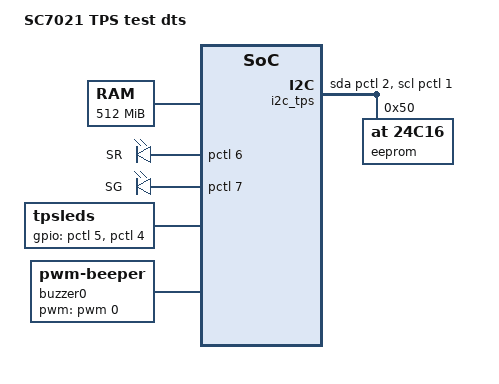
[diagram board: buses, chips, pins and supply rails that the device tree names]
/dts-v1/;

#include "pentagram-sp7021-achip.dtsi"

#include <dt-bindings/interrupt-controller/arm-gic.h>

/ {
	model = "SC7021 TPS test dts";
	compatible = "sunplus,sc7021-achip";

	chosen {
		bootargs = "console=ttyS0,115200 root=/dev/ram rw loglevel=8 earlyprintk";
	};

	memory {
		reg = <0x00000000 0x20000000>; /* 512MB */
	};
};

&sp_spinor0 {  status = "disabled";  };

&sp_uphy0 {
  pinctrl-names = "default";
  pinctrl-0 = <&pins_vbus_usb0>;
  vbus-gpio = <&pctl 90 GPIO_ACTIVE_HIGH>;
};

&sp_uphy1 {
  pinctrl-names = "default";
  pinctrl-0 = <&pins_vbus_usb1>;
  vbus-gpio = <&pctl 91 GPIO_ACTIVE_HIGH>;
};

&l2sw {
 pinctrl-names = "default";
 pinctrl-0 = <&ethA_pins &eth0_pins &eth1_pins>;
};

&mmc1 {
 cd-gpio = <&pctl 0 GPIO_ACTIVE_LOW>;
};

&hdmitx {
 pinctrl-names = "default";
 pinctrl-0 = <&hdmi_A_tx1>;
};

&uart4 {
 pinctrl-names = "default";
 pinctrl-0 = <&pins_btuart>;
};

&pctl {
 /*** all non-device binded that you want to set mode ***/
 pinctrl-names = "default";
 pinctrl-0 = <&pins_iopp_nobinded &pins_gpio_nobinded &func_zero>;

 /* detouch any preset pins from this functions */
 func_zero: func_zero {
   sppctl,zero = <
     MUXF_L2SW_LED_FLASH0
     MUXF_L2SW_LED_ON0
     MUXF_L2SW_LED_FLASH1
     MUXF_L2SW_LED_ON1
   >;
 };
 
 pins_iopp_nobinded: pins_iopp_nobinded {
    sppctl,pins = <
    /* SP7021_IOPAD(97,SP7021_PCTL_G_IOPP,0,0) */
    >;
 };
 pins_gpio_nobinded: pins_gpio_nobinded {
    sppctl,pins = <
      SP7021_IOPAD(42,SP7021_PCTL_G_GPIO,0,0)   /* was L2SW_LED_FLASH0 */
      SP7021_IOPAD(51,SP7021_PCTL_G_GPIO,0,0)   /* was L2SW_LED_ON0 */
      SP7021_IOPAD(30,SP7021_PCTL_G_GPIO,0,0)   /* was L2SW_LED_FLASH1 */
      SP7021_IOPAD(39,SP7021_PCTL_G_GPIO,0,0)   /* was L2SW_LED_ON1  */
    >;
 };

 pins_vbus_usb0: pins_vbus_usb0 {
	sppctl,pins = <
	  SP7021_IOPAD(90,SP7021_PCTL_G_GPIO,0,SP7021_PCTL_L_OUT)
	>;
 };
 pins_vbus_usb1: pins_vbus_usb1 {
    sppctl,pins = <
	  SP7021_IOPAD(91,SP7021_PCTL_G_GPIO,0,SP7021_PCTL_L_OUT)
	>;
 };

 leds_s0_def: user_leds_s0_def {
    sppctl,pins = <
      SP7021_IOPAD(6,SP7021_PCTL_G_GPIO,MUXF_GPIO,SP7021_PCTL_L_INV)
      SP7021_IOPAD(7,SP7021_PCTL_G_GPIO,0,SP7021_PCTL_L_INV)
    >;
 };
 leds_s0_slp: user_leds_s0_slp {
    sppctl,pins = <
      SP7021_IOPAD(6,SP7021_PCTL_G_GPIO,0,0)
      SP7021_IOPAD(7,SP7021_PCTL_G_GPIO,0,0)
    >;
 };
 tpsleds_pins: user_tpsleds_pins {
    sppctl,pins = <
      SP7021_IOPAD(4,SP7021_PCTL_G_GPIO,0,0)
      SP7021_IOPAD(5,SP7021_PCTL_G_GPIO,0,0)
    >;
 };
 pins_btuart: pins_btuart {
    sppctl,pins = <
      SP7021_IOPAD(40,SP7021_PCTL_G_PMUX,MUXF_UA4_RX,0)
      SP7021_IOPAD(41,SP7021_PCTL_G_PMUX,MUXF_UA4_TX,0)
    >;
 };
 buzzer0_pins: user_buzzer0_pins {
    sppctl,pins = <
      SP7021_IOPAD(48,SP7021_PCTL_G_PMUX,MUXF_PWM0,0)
    >;
 };
 pins_i2ctps: pins_i2ctps {
    sppctl,pins = <
      SP7021_IOPAD(1,SP7021_PCTL_G_GPIO,0,0)
      SP7021_IOPAD(2,SP7021_PCTL_G_GPIO,0,0)
    >;
 };
 hdmi_A_tx1: hdmi_A_tx1_pins {
    sppctl,groups = "HDMI_TX1";
    sppctl,function = "HDMI_TX";
 };
 /* for all eth */
 ethA_pins: pinmux_ethA_pins {
  sppctl,pins = <
       SP7021_IOPAD(63,SP7021_PCTL_G_PMUX,MUXF_L2SW_CLK_OUT,0)
       SP7021_IOPAD(71,SP7021_PCTL_G_PMUX,MUXF_L2SW_MAC_SMI_MDC,0)
       SP7021_IOPAD(64,SP7021_PCTL_G_PMUX,MUXF_L2SW_MAC_SMI_MDIO,0)
  >;
 };
 eth0_pins: pinmux_eth0_pins {
  sppctl,pins = <
/*
        SP7021_IOPAD(42,SP7021_PCTL_G_PMUX,MUXF_L2SW_LED_FLASH0,0)
        SP7021_IOPAD(51,SP7021_PCTL_G_PMUX,MUXF_L2SW_LED_ON0,0)
*/
       SP7021_IOPAD(62,SP7021_PCTL_G_PMUX,MUXF_L2SW_P0_MAC_RMII_TXEN,0)
       SP7021_IOPAD(61,SP7021_PCTL_G_PMUX,MUXF_L2SW_P0_MAC_RMII_TXD0,0)
       SP7021_IOPAD(60,SP7021_PCTL_G_PMUX,MUXF_L2SW_P0_MAC_RMII_TXD1,0)
       SP7021_IOPAD(59,SP7021_PCTL_G_PMUX,MUXF_L2SW_P0_MAC_RMII_CRSDV,0)
       SP7021_IOPAD(58,SP7021_PCTL_G_PMUX,MUXF_L2SW_P0_MAC_RMII_RXD0,0)
       SP7021_IOPAD(57,SP7021_PCTL_G_PMUX,MUXF_L2SW_P0_MAC_RMII_RXD1,0)
       SP7021_IOPAD(56,SP7021_PCTL_G_PMUX,MUXF_L2SW_P0_MAC_RMII_RXER,0)
  >;
 };
 eth1_pins: pinmux_eth1_pins {
  sppctl,pins = <
/*
       SP7021_IOPAD(30,SP7021_PCTL_G_PMUX,MUXF_L2SW_LED_FLASH1,0)
       SP7021_IOPAD(39,SP7021_PCTL_G_PMUX,MUXF_L2SW_LED_ON1,0)
*/
       SP7021_IOPAD(55,SP7021_PCTL_G_PMUX,MUXF_L2SW_P1_MAC_RMII_TXEN,0)
       SP7021_IOPAD(54,SP7021_PCTL_G_PMUX,MUXF_L2SW_P1_MAC_RMII_TXD0,0)
       SP7021_IOPAD(53,SP7021_PCTL_G_PMUX,MUXF_L2SW_P1_MAC_RMII_TXD1,0)
       SP7021_IOPAD(52,SP7021_PCTL_G_PMUX,MUXF_L2SW_P1_MAC_RMII_CRSDV,0)
       SP7021_IOPAD(51,SP7021_PCTL_G_PMUX,MUXF_L2SW_P1_MAC_RMII_RXD0,0)
       SP7021_IOPAD(50,SP7021_PCTL_G_PMUX,MUXF_L2SW_P1_MAC_RMII_RXD1,0)
       SP7021_IOPAD(49,SP7021_PCTL_G_PMUX,MUXF_L2SW_P1_MAC_RMII_RXER,0)
  >;
 };

 mmc1_mux: mmc1_mux {
	sppctl,groups = "SD_CARD";
	sppctl,function = "SD_CARD";
	sppctl,pins = < SP7021_IOPAD(0,SP7021_PCTL_G_GPIO,0,0) >;
 };
 pins_sdio: pins_sdio {
	sppctl,pins = <
		SP7021_IOPAD(44,SP7021_PCTL_G_PMUX,MUXF_SDIO_D1,0)
		SP7021_IOPAD(45,SP7021_PCTL_G_PMUX,MUXF_SDIO_D0,0)
		SP7021_IOPAD(46,SP7021_PCTL_G_PMUX,MUXF_SDIO_CLK,0)
		SP7021_IOPAD(47,SP7021_PCTL_G_PMUX,MUXF_SDIO_CMD,0)
		SP7021_IOPAD(42,SP7021_PCTL_G_PMUX,MUXF_SDIO_D3,0)
		SP7021_IOPAD(43,SP7021_PCTL_G_PMUX,MUXF_SDIO_D2,0) >;
 };

};

/ {
	soc@B {
		tpsid {
            compatible = "tpsid";
			nvmem-cell-names = "mac_addr0";
			nvmem-cells = <&mac_addr0>;
		};
		leds {
		    pinctrl-names = "default", "sleep";
		    pinctrl-0 = <&leds_s0_def>;
		    pinctrl-1 = <&leds_s0_slp>;
		    compatible = "gpio-leds";
		    led@1 {
                label = "SR";
                gpios = <&pctl 6 GPIO_ACTIVE_HIGH>;
                linux,default-trigger = "heartbeat";
                default-state = "off";
		    };
		    led@2 {
                label = "SG";
                gpios = <&pctl 7 GPIO_ACTIVE_HIGH>;
                linux,default-trigger = "mmc0";
                default-state = "off";
		    };
		};
		tpsleds: tpsleds {
		    compatible = "tpsleds";
		    pinctrl-names = "default";
		    pinctrl-0 = <&tpsleds_pins>;
		    status = "okay";
		    init-val = <0x0>;
		    gpios = <&pctl 5 GPIO_ACTIVE_HIGH
			     &pctl 4 GPIO_ACTIVE_HIGH
		    >;
		};
		buzzer0 {
		    compatible = "pwm-beeper";
		    pinctrl-names = "default";
		    pinctrl-0 = <&buzzer0_pins>;
		    pwms = <&pwm 0 1000000 0>;
		};
		i2c_tps: i2c-tps { /* eeprom */
		    compatible = "i2c-gpio";
		    /*i2c-gpio,scl-open-drain;*/
		    /*i2c-gpio,sda-open-drain;*/
		    i2c-gpio,delay-us = <3>;/* ~100 kHz */
		    #address-cells = <1>;
		    #size-cells = <0>;
		    pinctrl-names = "default";
		    pinctrl-0 = <&pins_i2ctps>;
		    gpios = <&pctl 2 GPIO_ACTIVE_HIGH     /* SDA */
			     &pctl 1 GPIO_ACTIVE_HIGH     /* SCL */
                    >;
		    eeprom: eeprom@50 {
                compatible = "at,24c16";
                reg = <0x50>;
                pagesize = <16>;
            };
		};
	};
};
